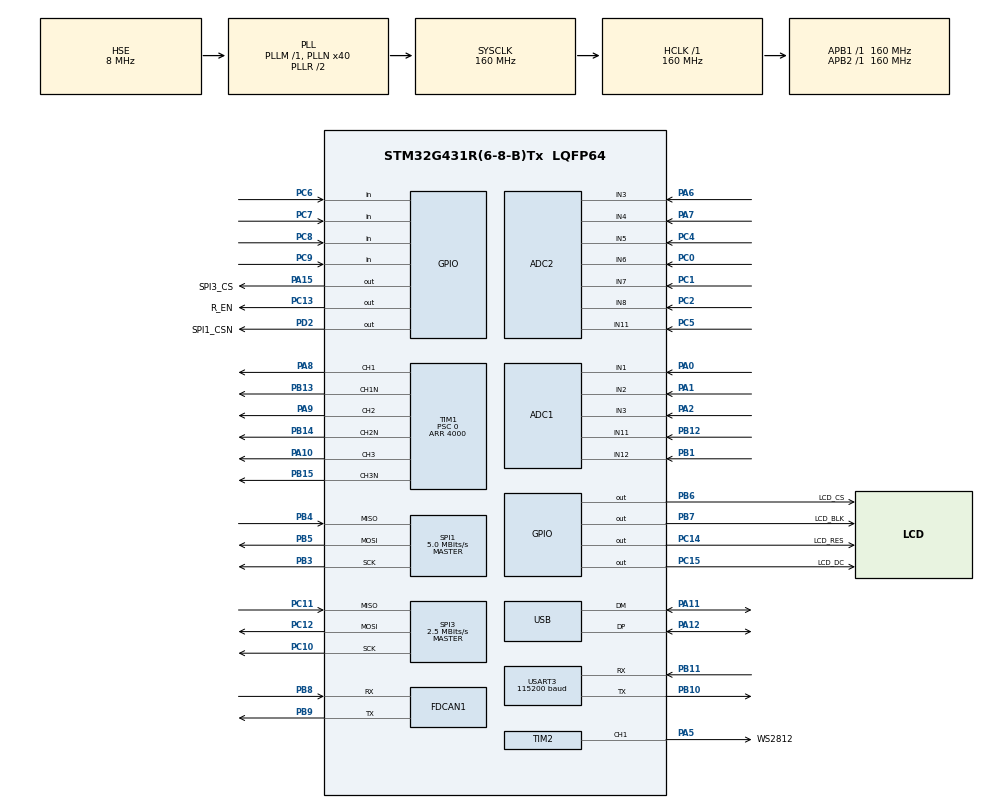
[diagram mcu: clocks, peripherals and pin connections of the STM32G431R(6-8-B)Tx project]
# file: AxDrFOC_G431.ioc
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ADC1.Channel-4\#ChannelRegularConversion=ADC_CHANNEL_11
ADC1.Channel-5\#ChannelRegularConversion=ADC_CHANNEL_12
ADC1.ContinuousConvMode=ENABLE
ADC1.DMAContinuousRequests=ENABLE
ADC1.EnableInjectedConversion=ENABLE
ADC1.EnableRegularConversion=ENABLE
ADC1.ExternalTrigInjecConv=ADC_EXTERNALTRIGINJEC_T1_CC4
ADC1.ExternalTrigInjecConvEdge=ADC_EXTERNALTRIGINJECCONV_EDGE_FALLING
ADC1.InjNumberOfConversion=3
ADC1.InjectedChannel-1\#ChannelInjectedConversion=ADC_CHANNEL_1
ADC1.InjectedChannel-2\#ChannelInjectedConversion=ADC_CHANNEL_2
ADC1.InjectedChannel-3\#ChannelInjectedConversion=ADC_CHANNEL_3
ADC1.InjectedOffsetNumber-1\#ChannelInjectedConversion=ADC_OFFSET_NONE
ADC1.InjectedOffsetNumber-2\#ChannelInjectedConversion=ADC_OFFSET_NONE
ADC1.InjectedOffsetNumber-3\#ChannelInjectedConversion=ADC_OFFSET_NONE
ADC1.InjectedRank-1\#ChannelInjectedConversion=1
ADC1.InjectedRank-2\#ChannelInjectedConversion=2
ADC1.InjectedRank-3\#ChannelInjectedConversion=3
ADC1.InjectedSamplingTime-1\#ChannelInjectedConversion=ADC_SAMPLETIME_47CYCLES_5
ADC1.InjectedSamplingTime-2\#ChannelInjectedConversion=ADC_SAMPLETIME_47CYCLES_5
ADC1.InjectedSamplingTime-3\#ChannelInjectedConversion=ADC_SAMPLETIME_47CYCLES_5
ADC1.NbrOfConversion=2
ADC1.NbrOfConversionFlag=1
ADC1.OffsetNumber-4\#ChannelRegularConversion=ADC_OFFSET_NONE
ADC1.OffsetNumber-5\#ChannelRegularConversion=ADC_OFFSET_NONE
ADC1.Rank-4\#ChannelRegularConversion=1
ADC1.Rank-5\#ChannelRegularConversion=2
ADC1.SamplingTime-4\#ChannelRegularConversion=ADC_SAMPLETIME_47CYCLES_5
ADC1.SamplingTime-5\#ChannelRegularConversion=ADC_SAMPLETIME_47CYCLES_5
ADC1.master=1
ADC2.Channel-11\#ChannelRegularConversion=ADC_CHANNEL_11
ADC2.Channel-12\#ChannelRegularConversion=ADC_CHANNEL_6
ADC2.Channel-13\#ChannelRegularConversion=ADC_CHANNEL_7
ADC2.Channel-14\#ChannelRegularConversion=ADC_CHANNEL_8
ADC2.ContinuousConvMode=ENABLE
ADC2.DMAContinuousRequests=ENABLE
ADC2.EnableInjectedConversion=ENABLE
ADC2.EnableRegularConversion=ENABLE
ADC2.ExternalTrigInjecConv=ADC_EXTERNALTRIGINJEC_T1_CC4
ADC2.ExternalTrigInjecConvEdge=ADC_EXTERNALTRIGINJECCONV_EDGE_FALLING
ADC2.InjNumberOfConversion=1
ADC2.InjectedChannel-1\#ChannelInjectedConversion=ADC_CHANNEL_11
ADC2.InjectedOffsetNumber-1\#ChannelInjectedConversion=ADC_OFFSET_NONE
ADC2.InjectedRank-1\#ChannelInjectedConversion=1
ADC2.InjectedSamplingTime-1\#ChannelInjectedConversion=ADC_SAMPLETIME_47CYCLES_5
ADC2.NbrOfConversion=4
ADC2.NbrOfConversionFlag=1
ADC2.OffsetNumber-11\#ChannelRegularConversion=ADC_OFFSET_NONE
ADC2.OffsetNumber-12\#ChannelRegularConversion=ADC_OFFSET_NONE
ADC2.OffsetNumber-13\#ChannelRegularConversion=ADC_OFFSET_NONE
ADC2.OffsetNumber-14\#ChannelRegularConversion=ADC_OFFSET_NONE
ADC2.Rank-11\#ChannelRegularConversion=1
ADC2.Rank-12\#ChannelRegularConversion=2
ADC2.Rank-13\#ChannelRegularConversion=3
ADC2.Rank-14\#ChannelRegularConversion=4
ADC2.SamplingTime-11\#ChannelRegularConversion=ADC_SAMPLETIME_640CYCLES_5
ADC2.SamplingTime-12\#ChannelRegularConversion=ADC_SAMPLETIME_47CYCLES_5
ADC2.SamplingTime-13\#ChannelRegularConversion=ADC_SAMPLETIME_47CYCLES_5
ADC2.SamplingTime-14\#ChannelRegularConversion=ADC_SAMPLETIME_47CYCLES_5
Dma.ADC1.3.Direction=DMA_PERIPH_TO_MEMORY
Dma.ADC1.3.EventEnable=DISABLE
Dma.ADC1.3.Instance=DMA1_Channel4
Dma.ADC1.3.MemDataAlignment=DMA_MDATAALIGN_HALFWORD
Dma.ADC1.3.MemInc=DMA_MINC_ENABLE
Dma.ADC1.3.Mode=DMA_CIRCULAR
Dma.ADC1.3.PeriphDataAlignment=DMA_PDATAALIGN_HALFWORD
Dma.ADC1.3.PeriphInc=DMA_PINC_DISABLE
Dma.ADC1.3.Polarity=HAL_DMAMUX_REQ_GEN_RISING
Dma.ADC1.3.Priority=DMA_PRIORITY_LOW
Dma.ADC1.3.RequestNumber=1
Dma.ADC1.3.SignalID=NONE
Dma.ADC1.3.SyncEnable=DISABLE
Dma.ADC1.3.SyncPolarity=HAL_DMAMUX_SYNC_NO_EVENT
Dma.ADC1.3.SyncRequestNumber=1
Dma.ADC1.3.SyncSignalID=NONE
Dma.ADC2.2.Direction=DMA_PERIPH_TO_MEMORY
Dma.ADC2.2.EventEnable=DISABLE
Dma.ADC2.2.Instance=DMA1_Channel3
Dma.ADC2.2.MemDataAlignment=DMA_MDATAALIGN_HALFWORD
Dma.ADC2.2.MemInc=DMA_MINC_ENABLE
Dma.ADC2.2.Mode=DMA_CIRCULAR
Dma.ADC2.2.PeriphDataAlignment=DMA_PDATAALIGN_HALFWORD
Dma.ADC2.2.PeriphInc=DMA_PINC_DISABLE
Dma.ADC2.2.Polarity=HAL_DMAMUX_REQ_GEN_RISING
Dma.ADC2.2.Priority=DMA_PRIORITY_LOW
Dma.ADC2.2.RequestNumber=1
Dma.ADC2.2.SignalID=NONE
Dma.ADC2.2.SyncEnable=DISABLE
Dma.ADC2.2.SyncPolarity=HAL_DMAMUX_SYNC_NO_EVENT
Dma.ADC2.2.SyncRequestNumber=1
Dma.ADC2.2.SyncSignalID=NONE
Dma.Request0=USART3_RX
Dma.Request1=USART3_TX
Dma.Request2=ADC2
Dma.Request3=ADC1
Dma.Request4=TIM2_CH1
Dma.TIM2_CH1.4.Direction=DMA_MEMORY_TO_PERIPH
Dma.TIM2_CH1.4.EventEnable=DISABLE
Dma.TIM2_CH1.4.Instance=DMA1_Channel1
Dma.TIM2_CH1.4.MemDataAlignment=DMA_MDATAALIGN_BYTE
Dma.TIM2_CH1.4.MemInc=DMA_MINC_ENABLE
Dma.TIM2_CH1.4.Mode=DMA_CIRCULAR
Dma.TIM2_CH1.4.PeriphDataAlignment=DMA_PDATAALIGN_WORD
Dma.TIM2_CH1.4.PeriphInc=DMA_PINC_DISABLE
Dma.TIM2_CH1.4.Polarity=HAL_DMAMUX_REQ_GEN_RISING
Dma.TIM2_CH1.4.Priority=DMA_PRIORITY_LOW
Dma.TIM2_CH1.4.RequestNumber=1
Dma.TIM2_CH1.4.SignalID=NONE
Dma.TIM2_CH1.4.SyncEnable=DISABLE
Dma.TIM2_CH1.4.SyncPolarity=HAL_DMAMUX_SYNC_NO_EVENT
Dma.TIM2_CH1.4.SyncRequestNumber=1
Dma.TIM2_CH1.4.SyncSignalID=NONE
Dma.USART3_RX.0.Direction=DMA_PERIPH_TO_MEMORY
Dma.USART3_RX.0.EventEnable=DISABLE
Dma.USART3_RX.0.Instance=DMA2_Channel1
Dma.USART3_RX.0.MemDataAlignment=DMA_MDATAALIGN_BYTE
Dma.USART3_RX.0.MemInc=DMA_MINC_ENABLE
Dma.USART3_RX.0.Mode=DMA_NORMAL
Dma.USART3_RX.0.PeriphDataAlignment=DMA_PDATAALIGN_BYTE
Dma.USART3_RX.0.PeriphInc=DMA_PINC_DISABLE
Dma.USART3_RX.0.Polarity=HAL_DMAMUX_REQ_GEN_RISING
Dma.USART3_RX.0.Priority=DMA_PRIORITY_LOW
Dma.USART3_RX.0.RequestNumber=1
Dma.USART3_RX.0.SignalID=NONE
Dma.USART3_RX.0.SyncEnable=DISABLE
Dma.USART3_RX.0.SyncPolarity=HAL_DMAMUX_SYNC_NO_EVENT
Dma.USART3_RX.0.SyncRequestNumber=1
Dma.USART3_RX.0.SyncSignalID=NONE
Dma.USART3_TX.1.Direction=DMA_MEMORY_TO_PERIPH
Dma.USART3_TX.1.EventEnable=DISABLE
Dma.USART3_TX.1.Instance=DMA1_Channel2
Dma.USART3_TX.1.MemDataAlignment=DMA_MDATAALIGN_BYTE
Dma.USART3_TX.1.MemInc=DMA_MINC_ENABLE
Dma.USART3_TX.1.Mode=DMA_NORMAL
Dma.USART3_TX.1.PeriphDataAlignment=DMA_PDATAALIGN_BYTE
Dma.USART3_TX.1.PeriphInc=DMA_PINC_DISABLE
Dma.USART3_TX.1.Polarity=HAL_DMAMUX_REQ_GEN_RISING
Dma.USART3_TX.1.Priority=DMA_PRIORITY_LOW
Dma.USART3_TX.1.RequestNumber=1
Dma.USART3_TX.1.SignalID=NONE
Dma.USART3_TX.1.SyncEnable=DISABLE
Dma.USART3_TX.1.SyncPolarity=HAL_DMAMUX_SYNC_NO_EVENT
Dma.USART3_TX.1.SyncRequestNumber=1
Dma.USART3_TX.1.SyncSignalID=NONE
FDCAN1.AutoRetransmission=ENABLE
FDCAN1.CalculateBaudRateNominal=1000000
FDCAN1.CalculateTimeBitNominal=1000
FDCAN1.CalculateTimeQuantumNominal=12.5
FDCAN1.DataPrescaler=1
FDCAN1.DataSyncJumpWidth=1
FDCAN1.DataTimeSeg1=14
FDCAN1.DataTimeSeg2=1
FDCAN1.ExtFiltersNbr=8
FDCAN1.FrameFormat=FDCAN_FRAME_FD_BRS
FDCAN1.NominalPrescaler=1
FDCAN1.NominalSyncJumpWidth=20
FDCAN1.NominalTimeSeg1=59
FDCAN1.NominalTimeSeg2=20
FDCAN1.ProtocolException=DISABLE
FDCAN1.StdFiltersNbr=16
FDCAN1.TransmitPause=ENABLE
Mcu.Family=STM32G4
Mcu.Name=STM32G431R(6-8-B)Tx
Mcu.Package=LQFP64
NVIC.ADC1_2_IRQn=true\:0\:0\:false\:false\:true\:true\:true\:true
NVIC.DMA1_Channel1_IRQn=true\:0\:0\:false\:false\:true\:false\:true\:true
NVIC.DMA1_Channel2_IRQn=true\:0\:0\:false\:false\:true\:false\:true\:true
NVIC.DMA1_Channel3_IRQn=true\:0\:0\:false\:false\:true\:false\:true\:true
NVIC.DMA1_Channel4_IRQn=true\:0\:0\:false\:false\:true\:false\:true\:true
NVIC.DMA2_Channel1_IRQn=true\:0\:0\:false\:false\:true\:false\:true\:true
NVIC.FDCAN1_IT0_IRQn=true\:0\:0\:false\:false\:true\:true\:true\:true
NVIC.FDCAN1_IT1_IRQn=true\:0\:0\:false\:false\:true\:true\:true\:true
NVIC.PriorityGroup=NVIC_PRIORITYGROUP_4
NVIC.TIM1_UP_TIM16_IRQn=true\:0\:0\:false\:false\:true\:true\:true\:true
NVIC.TIM2_IRQn=true\:0\:0\:false\:false\:true\:true\:true\:true
NVIC.USART3_IRQn=true\:0\:0\:false\:false\:true\:true\:true\:true
PA0.Mode=IN1-Single-Ended
PA0.Signal=ADC1_IN1
PA1.Mode=IN2-Single-Ended
PA1.Signal=ADC1_IN2
PA10.Signal=S_TIM1_CH3
PA11.Mode=Device
PA11.Signal=USB_DM
PA12.Mode=Device
PA12.Signal=USB_DP
PA13.Mode=Serial_Wire
PA13.Signal=SYS_JTMS-SWDIO
PA14.Mode=Serial_Wire
PA14.Signal=SYS_JTCK-SWCLK
PA15.GPIO_Label=SPI3_CS
PA15.GPIO_PuPd=GPIO_PULLUP
PA15.Signal=GPIO_Output
PA2.Mode=IN3-Single-Ended
PA2.Signal=ADC1_IN3
PA5.GPIO_Label=WS2812
PA5.GPIO_PuPd=GPIO_PULLDOWN
PA5.Signal=S_TIM2_CH1
PA6.Mode=IN3-Single-Ended
PA6.Signal=ADC2_IN3
PA7.Mode=IN4-Single-Ended
PA7.Signal=ADC2_IN4
PA8.Signal=S_TIM1_CH1
PA9.Signal=S_TIM1_CH2
PB1.Mode=IN12-Single-Ended
PB1.Signal=ADC1_IN12
PB10.Mode=Asynchronous
PB10.Signal=USART3_TX
PB11.Mode=Asynchronous
PB11.Signal=USART3_RX
PB12.Mode=IN11-Single-Ended
PB12.Signal=ADC1_IN11
PB13.Mode=PWM Generation1 CH1 CH1N
PB13.Signal=TIM1_CH1N
PB14.Mode=PWM Generation2 CH2 CH2N
PB14.Signal=TIM1_CH2N
PB15.Mode=PWM Generation3 CH3 CH3N
PB15.Signal=TIM1_CH3N
PB3.Mode=Full_Duplex_Master
PB3.Signal=SPI1_SCK
PB4.Mode=Full_Duplex_Master
PB4.Signal=SPI1_MISO
PB5.Mode=Full_Duplex_Master
PB5.Signal=SPI1_MOSI
PB6.GPIO_Label=LCD_CS
PB6.GPIO_PuPd=GPIO_PULLDOWN
PB6.PinState=GPIO_PIN_RESET
PB6.Signal=GPIO_Output
PB7.GPIO_Label=LCD_BLK
PB7.GPIO_PuPd=GPIO_PULLDOWN
PB7.Signal=GPIO_Output
PB8-BOOT0.Mode=FDCAN_Activate
PB8-BOOT0.Signal=FDCAN1_RX
PB9.Mode=FDCAN_Activate
PB9.Signal=FDCAN1_TX
PC0.Mode=IN6-Single-Ended
PC0.Signal=ADC2_IN6
PC1.Mode=IN7-Single-Ended
PC1.Signal=ADC2_IN7
PC10.Mode=Full_Duplex_Master
PC10.Signal=SPI3_SCK
PC11.Mode=Full_Duplex_Master
PC11.Signal=SPI3_MISO
PC12.Mode=Full_Duplex_Master
PC12.Signal=SPI3_MOSI
PC13.GPIO_Label=R_EN
PC13.Signal=GPIO_Output
PC14-OSC32_IN.GPIO_Label=LCD_RES
PC14-OSC32_IN.GPIO_PuPd=GPIO_PULLUP
PC14-OSC32_IN.PinState=GPIO_PIN_SET
PC14-OSC32_IN.Signal=GPIO_Output
PC15-OSC32_OUT.GPIO_Label=LCD_DC
PC15-OSC32_OUT.GPIO_PuPd=GPIO_PULLDOWN
PC15-OSC32_OUT.PinState=GPIO_PIN_SET
PC15-OSC32_OUT.Signal=GPIO_Output
PC2.Mode=IN8-Single-Ended
PC2.Signal=ADC2_IN8
PC4.Mode=IN5-Single-Ended
PC4.Signal=ADC2_IN5
PC5.Mode=IN11-Single-Ended
PC5.Signal=ADC2_IN11
PC6.GPIO_PuPd=GPIO_PULLUP
PC6.Signal=GPIO_Input
PC7.GPIO_PuPd=GPIO_PULLUP
PC7.Signal=GPIO_Input
PC8.GPIO_PuPd=GPIO_PULLUP
PC8.Signal=GPIO_Input
PC9.GPIO_PuPd=GPIO_PULLUP
PC9.Signal=GPIO_Input
PD2.GPIO_Label=SPI1_CSN
PD2.GPIO_PuPd=GPIO_PULLDOWN
PD2.Signal=GPIO_Output
PF0-OSC_IN.Mode=HSE-External-Oscillator
PF0-OSC_IN.Signal=RCC_OSC_IN
PF1-OSC_OUT.Mode=HSE-External-Oscillator
PF1-OSC_OUT.Signal=RCC_OSC_OUT
ProjectManager.HeapSize=0x200
ProjectManager.StackSize=0x400
ProjectManager.TargetToolchain=CMake
RCC.ADC12Freq_Value=160000000
RCC.ADC345Freq_Value=160000000
RCC.AHBFreq_Value=160000000
RCC.APB1Freq_Value=160000000
RCC.APB1TimFreq_Value=160000000
RCC.APB2Freq_Value=160000000
RCC.APB2TimFreq_Value=160000000
RCC.CK48CLockSelection=RCC_USBCLKSOURCE_HSI48
RCC.CortexFreq_Value=160000000
RCC.EXTERNAL_CLOCK_VALUE=12288000
RCC.FDCANCLockSelection=RCC_FDCANCLKSOURCE_PLL
RCC.HCLKFreq_Value=160000000
RCC.HSE_VALUE=8000000
RCC.HSI48_VALUE=48000000
RCC.HSI_VALUE=16000000
RCC.LSE_VALUE=32768
RCC.PLLN=40
RCC.PLLQ=RCC_PLLQ_DIV4
RCC.PLLSourceVirtual=RCC_PLLSOURCE_HSE
RCC.SYSCLKFreq_VALUE=160000000
RCC.SYSCLKSource=RCC_SYSCLKSOURCE_PLLCLK
RCC.USBFreq_Value=48000000
RCC.VCOOutputFreq_Value=320000000
SH.S_TIM1_CH1.0=TIM1_CH1,PWM Generation1 CH1 CH1N
SH.S_TIM1_CH2.0=TIM1_CH2,PWM Generation2 CH2 CH2N
SH.S_TIM1_CH3.0=TIM1_CH3,PWM Generation3 CH3 CH3N
SH.S_TIM2_CH1.0=TIM2_CH1,PWM Generation1 CH1
SPI1.BaudRatePrescaler=SPI_BAUDRATEPRESCALER_32
SPI1.CLKPhase=SPI_PHASE_2EDGE
SPI1.CLKPolarity=SPI_POLARITY_HIGH
SPI1.CRCCalculation=SPI_CRCCALCULATION_DISABLE
SPI1.CalculateBaudRate=5.0 MBits/s
SPI1.DataSize=SPI_DATASIZE_16BIT
SPI1.Direction=SPI_DIRECTION_2LINES
SPI1.FirstBit=SPI_FIRSTBIT_MSB
SPI1.Mode=SPI_MODE_MASTER
SPI1.NSS=SPI_NSS_SOFT
SPI1.TIMode=SPI_TIMODE_DISABLE
SPI1.VirtualType=VM_MASTER
SPI3.BaudRatePrescaler=SPI_BAUDRATEPRESCALER_64
SPI3.CLKPhase=SPI_PHASE_2EDGE
SPI3.CLKPolarity=SPI_POLARITY_HIGH
SPI3.CRCCalculation=SPI_CRCCALCULATION_DISABLE
SPI3.CalculateBaudRate=2.5 MBits/s
SPI3.DataSize=SPI_DATASIZE_8BIT
SPI3.Direction=SPI_DIRECTION_2LINES
SPI3.Mode=SPI_MODE_MASTER
SPI3.VirtualType=VM_MASTER
TIM1.AutoReloadPreload=TIM_AUTORELOAD_PRELOAD_DISABLE
TIM1.AutomaticOutput=TIM_AUTOMATICOUTPUT_DISABLE
TIM1.Break2Filter=0
TIM1.Break2Polarity=TIM_BREAK2POLARITY_HIGH
TIM1.Break2State=TIM_BREAK2_DISABLE
TIM1.BreakFilter=0
TIM1.BreakPolarity=TIM_BREAKPOLARITY_HIGH
TIM1.BreakState=TIM_BREAK_DISABLE
TIM1.Channel-PWM\ Generation1\ CH1\ CH1N=TIM_CHANNEL_1
TIM1.Channel-PWM\ Generation2\ CH2\ CH2N=TIM_CHANNEL_2
TIM1.Channel-PWM\ Generation3\ CH3\ CH3N=TIM_CHANNEL_3
TIM1.Channel-PWM\ Generation4\ No\ Output=TIM_CHANNEL_4
TIM1.ClearInputSource=TIM_CLEARINPUTSOURCE_NONE
TIM1.ClockDivision=TIM_CLOCKDIVISION_DIV1
TIM1.CounterMode=TIM_COUNTERMODE_CENTERALIGNED2
TIM1.Dithering=Disable
TIM1.LockLevel=TIM_LOCKLEVEL_OFF
TIM1.OC4Preload_PWM=ENABLE
TIM1.OCFastMode_PWM-PWM\ Generation4\ No\ Output=TIM_OCFAST_DISABLE
TIM1.OCIdleState_4=TIM_OCIDLESTATE_RESET
TIM1.OCMode_PWM-PWM\ Generation4\ No\ Output=TIM_OCMODE_PWM1
TIM1.OCPolarity_4=TIM_OCPOLARITY_HIGH
TIM1.OffStateIDLEMode=TIM_OSSI_DISABLE
TIM1.PeriodNoDither=4000
TIM1.Prescaler=0
TIM1.PulseNoDither_4=0
TIM1.RepetitionCounter=0
TIM1.SourceBRK2COMP1=TIM_BREAKINPUTSOURCE_DISABLE
TIM1.SourceBRK2COMP2=TIM_BREAKINPUTSOURCE_DISABLE
TIM1.SourceBRK2COMP3=TIM_BREAKINPUTSOURCE_DISABLE
TIM1.SourceBRK2COMP4=TIM_BREAKINPUTSOURCE_DISABLE
TIM1.SourceBRK2DigInput=TIM_BREAKINPUTSOURCE_DISABLE
TIM1.SourceBRKCOMP1=TIM_BREAKINPUTSOURCE_DISABLE
TIM1.SourceBRKCOMP2=TIM_BREAKINPUTSOURCE_DISABLE
TIM1.SourceBRKCOMP3=TIM_BREAKINPUTSOURCE_DISABLE
TIM1.SourceBRKCOMP4=TIM_BREAKINPUTSOURCE_DISABLE
TIM1.SourceBRKDigInput=TIM_BREAKINPUTSOURCE_DISABLE
TIM1.TIM_MasterOutputTrigger=TIM_TRGO_RESET
TIM1.TIM_MasterOutputTrigger2=TIM_TRGO2_RESET
TIM1.TIM_MasterSlaveMode=TIM_MASTERSLAVEMODE_DISABLE
TIM2.AutoReloadPreload=TIM_AUTORELOAD_PRELOAD_ENABLE
TIM2.Channel-PWM\ Generation1\ CH1=TIM_CHANNEL_1
TIM2.PeriodNoDither=100-1
TIM2.Prescaler=2-1
TIM3.Prescaler=0
USART3.BaudRate=115200
USART3.VirtualMode-Asynchronous=VM_ASYNC
USB.DeviceSpeed=PCD_SPEED_FULL
USB.Sof_enable=DISABLE
USB.battery_charging_enable=DISABLE
USB.low_power_enable=DISABLE
USB.lpm_enable=DISABLE
USB.phy_itface=PCD_PHY_EMBEDDED
VP_SYS_VS_DBSignals.Mode=DisableDeadBatterySignals
VP_TIM1_VS_ClockSourceINT.Mode=Internal
VP_TIM1_VS_no_output4.Mode=PWM Generation4 No Output
VP_TIM2_VS_ClockSourceINT.Mode=Internal
VP_TIM3_VS_ClockSourceINT.Mode=Internal
board=custom

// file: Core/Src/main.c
/* USER CODE BEGIN Header */
/**
  ******************************************************************************
  * @file           : main.c
  * @brief          : Main program body
  ******************************************************************************
  * @attention
  *
  * Copyright (c) 2025 STMicroelectronics.
  * All rights reserved.
  *
  * This software is licensed under terms that can be found in the LICENSE file
  * in the root directory of this software component.
  * If no LICENSE file comes with this software, it is provided AS-IS.
  *
  ******************************************************************************
  */
/* USER CODE END Header */
#include "main.h"
#include "adc.h"
#include "dma.h"
#include "fdcan.h"
#include "spi.h"
#include "tim.h"
#include "usart.h"
#include "usb.h"
#include "gpio.h"

/* USER CODE BEGIN Includes */

#include "lcd.h"
#include "modlue.h"
#include "ws281x.h"
#include "stdio.h"
#include "stdbool.h"
#include "string.h"
/* USER CODE END Includes */

void SystemClock_Config(void);

/* USER CODE BEGIN 0 */
uint16_t adc1_buff[2];
uint16_t adc2_buff[4];

<<<<<<< Updated upstream
float ADC2_PC5_GetVoltage(void)
{
  uint16_t raw = adc2_buff[0];      // Rank1: PC5 → IN11
  const float Vref = 3.3f;          // VDDA = 3.3V

  float v_adc = (float)raw / 4095.0f * Vref;  // PC5 引脚电压
  return v_adc;
}

float ADC2_PC5_GetInputVoltage(void)
{
  float v_adc = ADC2_PC5_GetVoltage();
  const float R1 = 30000.0f;   // 上面的电阻（接 Vin 那条）
  const float R2 = 2000.0f;    // 下面的电阻（接 GND 那条）

  return v_adc * (R1+R2) /R2                                                                                                                   ;   // 还原成分压前的 Vin
}

=======
>>>>>>> Stashed changes
/* USER CODE END 0 */

int main(void)
{

  /* MCU Configuration--------------------------------------------------------*/

  /* Reset of all peripherals, Initializes the Flash interface and the Systick. */
  HAL_Init();

  /* Configure the system clock */
  SystemClock_Config();

  /* Initialize all configured peripherals */
  MX_GPIO_Init();
  MX_DMA_Init();
  MX_ADC1_Init();
  MX_ADC2_Init();
  MX_FDCAN1_Init();
  MX_SPI1_Init();
  MX_SPI3_Init();
  MX_TIM1_Init();
  MX_TIM3_Init();
  MX_USART3_UART_Init();
  MX_USB_PCD_Init();
  MX_TIM2_Init();
  /* USER CODE BEGIN 2 */
  //
  // HAL_TIM_PWM_Start(&htim2, TIM_CHANNEL_1);
  // __HAL_TIM_SET_COMPARE(&htim2, TIM_CHANNEL_1, 50); // 50% 占空比，ARR=99 时

  bsp_ws2812_init();     // 里面会 HAL_TIM_Base_Start（可有可无，对 PWM 不致命）

  HAL_Delay(1000);

<<<<<<< Updated upstream
  HAL_TIM_Base_Start(&htim3);
  HAL_TIM_Base_Start_IT(&htim1);

  HAL_ADCEx_Calibration_Start(&hadc1, ADC_SINGLE_ENDED);
  HAL_ADCEx_Calibration_Start(&hadc2, ADC_SINGLE_ENDED);
  HAL_ADCEx_InjectedStart_IT(&hadc1);
  HAL_ADCEx_InjectedStart(&hadc2);

  HAL_ADC_Start_DMA(&hadc1, (uint32_t *)adc1_buff, 2);
  HAL_ADC_Start_DMA(&hadc2, (uint32_t *)adc2_buff, 4);

  HAL_TIM_PWM_Start(&htim1, TIM_CHANNEL_4);
  __HAL_TIM_SET_COMPARE(&htim1, TIM_CHANNEL_4, 3900);
=======
  //
  bsp_ws2812_init();
  //
  //
  bsp_lcd_init();
  bsp_lcd_fill(TransColor888to565(0xFF0000));  // 红色
  HAL_Delay(500);
  bsp_lcd_fill(TransColor888to565(0x00FF00));  // 绿色
  HAL_Delay(500);
  bsp_lcd_fill(TransColor888to565(0x0000FF));  // 蓝色

>>>>>>> Stashed changes

  LCD_Init();
  LCD_Fill(0,0,LCD_W,LCD_H,BLACK);
  HAL_Delay(1000);
  display_foc();

  /* USER CODE END 2 */

  /* Infinite loop */
  while (1)
  {

    /* USER CODE BEGIN 3 */
    float vin = ADC2_PC5_GetInputVoltage();
    // 可以 LCD 打出来 / 串口打印
    LCD_ShowFloatNum1(170, 5, vin, 3, 2, GREEN, BLACK, 16);

    // LCD_ShowString(10, 5,(uint8_t *)"[READY]", GREEN, BLACK, 32, 0);
    // RGB_RainbowCycle(10,10);
    // LCD_DrawLine(0,0,100,100,RED);
    // LCD_Fill(0, 0, LCD_W, LCD_H, RED);
    // HAL_Delay(500);
    // LCD_Fill(0, 0, LCD_W, LCD_H, GREEN);
    // HAL_Delay(500);
    // LCD_Fill(0, 0, LCD_W, LCD_H, BLUE);
    // HAL_Delay(500);

    //
    // HAL_GPIO_TogglePin(GPIOC, GPIO_PIN_14);
    // HAL_Delay(500);

    // HAL_Delay(100);
    // bsp_lcd_fill(TransColor888to565(0xFF0000));  // 红
    // HAL_Delay(500);
    // bsp_lcd_fill(TransColor888to565(0x00FF00));  // 绿
    // HAL_Delay(500);
    // bsp_lcd_fill(TransColor888to565(0x0000FF));  // 蓝

  }
  /* USER CODE END 3 */
}

void SystemClock_Config(void)
{
  RCC_OscInitTypeDef RCC_OscInitStruct = {0};
  RCC_ClkInitTypeDef RCC_ClkInitStruct = {0};

  /** Configure the main internal regulator output voltage
  */
  HAL_PWREx_ControlVoltageScaling(PWR_REGULATOR_VOLTAGE_SCALE1_BOOST);

  /** Initializes the RCC Oscillators according to the specified parameters
  * in the RCC_OscInitTypeDef structure.
  */
  RCC_OscInitStruct.OscillatorType = RCC_OSCILLATORTYPE_HSI48|RCC_OSCILLATORTYPE_HSE;
  RCC_OscInitStruct.HSEState = RCC_HSE_ON;
  RCC_OscInitStruct.HSI48State = RCC_HSI48_ON;
  RCC_OscInitStruct.PLL.PLLState = RCC_PLL_ON;
  RCC_OscInitStruct.PLL.PLLSource = RCC_PLLSOURCE_HSE;
  RCC_OscInitStruct.PLL.PLLM = RCC_PLLM_DIV1;
  RCC_OscInitStruct.PLL.PLLN = 40;
  RCC_OscInitStruct.PLL.PLLP = RCC_PLLP_DIV2;
  RCC_OscInitStruct.PLL.PLLQ = RCC_PLLQ_DIV4;
  RCC_OscInitStruct.PLL.PLLR = RCC_PLLR_DIV2;
  if (HAL_RCC_OscConfig(&RCC_OscInitStruct) != HAL_OK)
  {
    Error_Handler();
  }

  /** Initializes the CPU, AHB and APB buses clocks
  */
  RCC_ClkInitStruct.ClockType = RCC_CLOCKTYPE_HCLK|RCC_CLOCKTYPE_SYSCLK
                              |RCC_CLOCKTYPE_PCLK1|RCC_CLOCKTYPE_PCLK2;
  RCC_ClkInitStruct.SYSCLKSource = RCC_SYSCLKSOURCE_PLLCLK;
  RCC_ClkInitStruct.AHBCLKDivider = RCC_SYSCLK_DIV1;
  RCC_ClkInitStruct.APB1CLKDivider = RCC_HCLK_DIV1;
  RCC_ClkInitStruct.APB2CLKDivider = RCC_HCLK_DIV1;

  if (HAL_RCC_ClockConfig(&RCC_ClkInitStruct, FLASH_LATENCY_4) != HAL_OK)
  {
    Error_Handler();
  }
}

void Error_Handler(void)
{
  __disable_irq();
  while (1)
  {
  }
}
